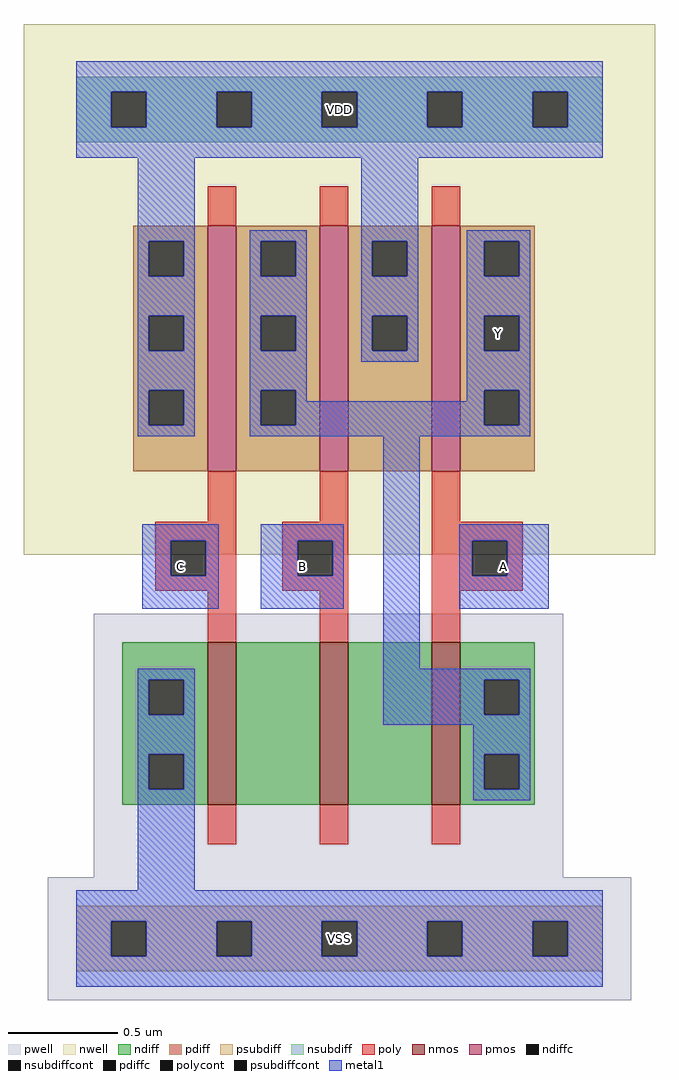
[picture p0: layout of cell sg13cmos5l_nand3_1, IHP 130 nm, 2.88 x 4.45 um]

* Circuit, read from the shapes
.subckt sg13cmos5l_nand3_1 VDD Y B C A VSS
XM1 n1 C VSS VSS sg13_lv_nmos w=0.74u l=0.13u
XM2 n2 B n1 VSS sg13_lv_nmos w=0.74u l=0.13u
XM3 Y A n2 VSS sg13_lv_nmos w=0.74u l=0.13u
XM4 Y C VDD VDD sg13_lv_pmos w=1.12u l=0.13u
XM5 VDD B Y VDD sg13_lv_pmos w=1.12u l=0.13u
XM6 Y A VDD VDD sg13_lv_pmos w=1.12u l=0.13u
.ends

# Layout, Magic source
magic
tech ihp-sg13cmos5l
magscale 1 2
<< nwell >>
rect -48 350 528 834
<< pwell >>
rect 16 56 444 296
rect -26 -56 506 56
<< nmos >>
rect 120 122 146 270
rect 222 122 248 270
rect 324 122 350 270
<< pmos >>
rect 120 426 146 650
rect 222 426 248 650
rect 324 426 350 650
<< ndiff >>
rect 42 236 120 270
rect 42 204 66 236
rect 98 204 120 236
rect 42 168 120 204
rect 42 136 66 168
rect 98 136 120 168
rect 42 122 120 136
rect 146 122 222 270
rect 248 122 324 270
rect 350 236 418 270
rect 350 204 372 236
rect 404 204 418 236
rect 350 168 418 204
rect 350 136 372 168
rect 404 136 418 168
rect 350 122 418 136
<< pdiff >>
rect 52 636 120 650
rect 52 604 66 636
rect 98 604 120 636
rect 52 568 120 604
rect 52 536 66 568
rect 98 536 120 568
rect 52 500 120 536
rect 52 468 66 500
rect 98 468 120 500
rect 52 426 120 468
rect 146 636 222 650
rect 146 604 168 636
rect 200 604 222 636
rect 146 568 222 604
rect 146 536 168 568
rect 200 536 222 568
rect 146 500 222 536
rect 146 468 168 500
rect 200 468 222 500
rect 146 426 222 468
rect 248 636 324 650
rect 248 604 270 636
rect 302 604 324 636
rect 248 568 324 604
rect 248 536 270 568
rect 302 536 324 568
rect 248 426 324 536
rect 350 636 418 650
rect 350 604 372 636
rect 404 604 418 636
rect 350 568 418 604
rect 350 536 372 568
rect 404 536 418 568
rect 350 500 418 536
rect 350 468 372 500
rect 404 468 418 500
rect 350 426 418 468
<< ndiffc >>
rect 66 204 98 236
rect 66 136 98 168
rect 372 204 404 236
rect 372 136 404 168
<< pdiffc >>
rect 66 604 98 636
rect 66 536 98 568
rect 66 468 98 500
rect 168 604 200 636
rect 168 536 200 568
rect 168 468 200 500
rect 270 604 302 636
rect 270 536 302 568
rect 372 604 404 636
rect 372 536 404 568
rect 372 468 404 500
<< psubdiff >>
rect 0 16 480 30
rect 0 -16 32 16
rect 64 -16 128 16
rect 160 -16 224 16
rect 256 -16 320 16
rect 352 -16 416 16
rect 448 -16 480 16
rect 0 -30 480 -16
<< nsubdiff >>
rect 0 772 480 786
rect 0 740 32 772
rect 64 740 128 772
rect 160 740 224 772
rect 256 740 320 772
rect 352 740 416 772
rect 448 740 480 772
rect 0 726 480 740
<< psubdiffcont >>
rect 32 -16 64 16
rect 128 -16 160 16
rect 224 -16 256 16
rect 320 -16 352 16
rect 416 -16 448 16
<< nsubdiffcont >>
rect 32 740 64 772
rect 128 740 160 772
rect 224 740 256 772
rect 320 740 352 772
rect 416 740 448 772
<< poly >>
rect 120 650 146 686
rect 222 650 248 686
rect 324 650 350 686
rect 120 380 146 426
rect 222 380 248 426
rect 72 363 146 380
rect 72 331 86 363
rect 118 331 146 363
rect 72 317 146 331
rect 188 363 248 380
rect 188 331 202 363
rect 234 331 248 363
rect 188 317 248 331
rect 120 270 146 317
rect 222 270 248 317
rect 324 380 350 426
rect 324 363 407 380
rect 324 331 361 363
rect 393 331 407 363
rect 324 317 407 331
rect 324 270 350 317
rect 120 86 146 122
rect 222 86 248 122
rect 324 86 350 122
<< polycont >>
rect 86 331 118 363
rect 202 331 234 363
rect 361 331 393 363
<< metal1 >>
rect 0 772 480 800
rect 0 740 32 772
rect 64 740 128 772
rect 160 740 224 772
rect 256 740 320 772
rect 352 740 416 772
rect 448 740 480 772
rect 0 712 480 740
rect 56 636 108 712
rect 56 604 66 636
rect 98 604 108 636
rect 56 568 108 604
rect 56 536 66 568
rect 98 536 108 568
rect 56 500 108 536
rect 56 468 66 500
rect 98 468 108 500
rect 56 458 108 468
rect 158 636 210 646
rect 158 604 168 636
rect 200 604 210 636
rect 158 568 210 604
rect 158 536 168 568
rect 200 536 210 568
rect 158 500 210 536
rect 260 636 312 712
rect 260 604 270 636
rect 302 604 312 636
rect 260 568 312 604
rect 260 536 270 568
rect 302 536 312 568
rect 260 526 312 536
rect 356 636 414 646
rect 356 604 372 636
rect 404 604 414 636
rect 356 568 414 604
rect 356 536 372 568
rect 404 536 414 568
rect 158 468 168 500
rect 200 490 210 500
rect 356 500 414 536
rect 356 490 372 500
rect 200 468 372 490
rect 404 468 414 500
rect 158 458 414 468
rect 60 363 130 378
rect 60 331 86 363
rect 118 331 130 363
rect 60 301 130 331
rect 168 363 244 378
rect 168 331 202 363
rect 234 331 244 363
rect 168 301 244 331
rect 280 246 313 458
rect 349 363 431 378
rect 349 331 361 363
rect 393 331 431 363
rect 349 301 431 331
rect 56 236 108 246
rect 56 204 66 236
rect 98 204 108 236
rect 56 168 108 204
rect 280 236 414 246
rect 280 204 372 236
rect 404 204 414 236
rect 280 195 414 204
rect 56 136 66 168
rect 98 136 108 168
rect 56 44 108 136
rect 362 168 414 195
rect 362 136 372 168
rect 404 136 414 168
rect 362 126 414 136
rect 0 16 480 44
rect 0 -16 32 16
rect 64 -16 128 16
rect 160 -16 224 16
rect 256 -16 320 16
rect 352 -16 416 16
rect 448 -16 480 16
rect 0 -44 480 -16
<< labels >>
flabel metal1 s 0 712 480 800 0 FreeSans 400 0 0 0 VDD
port 2 nsew
flabel metal1 s 356 458 414 646 0 FreeSans 400 0 0 0 Y
port 3 nsew
flabel metal1 s 168 301 244 378 0 FreeSans 400 0 0 0 B
port 4 nsew
flabel metal1 s 60 301 130 378 0 FreeSans 400 0 0 0 C
port 5 nsew
flabel metal1 s 349 301 431 378 0 FreeSans 400 0 0 0 A
port 6 nsew
flabel metal1 s 0 -44 480 44 0 FreeSans 400 0 0 0 VSS
port 7 nsew
<< properties >>
string FIXED_BBOX 0 0 480 756
string GDS_END 82918
string GDS_FILE pll_digital.gds
string GDS_START 78322
<< end >>
